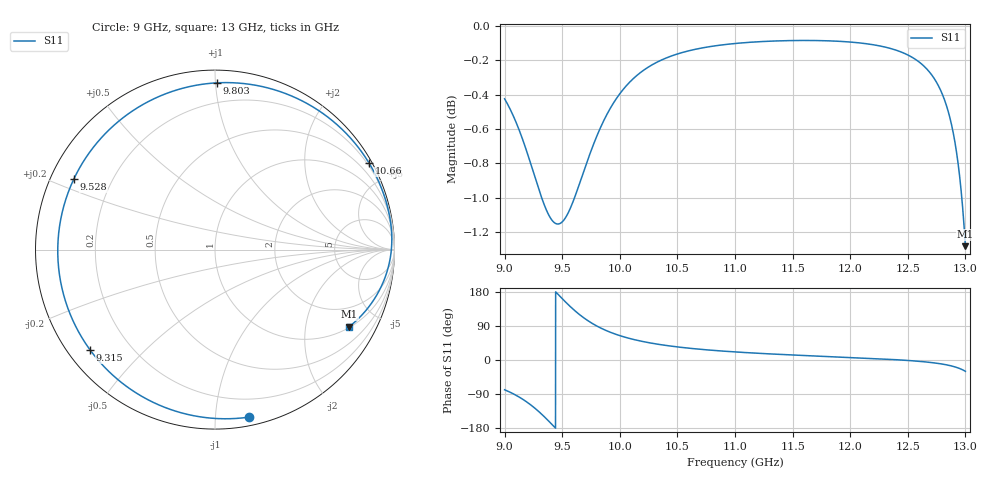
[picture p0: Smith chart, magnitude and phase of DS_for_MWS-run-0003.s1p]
! TOUCHSTONE file generated by CST DESIGN STUDIO
! Date and time: Tue Feb  4 17:05:14 2025
! Project name: C:\Work\MatlabApps\UnitCellOptimizationMatlab\CST\unitcell.cst
! Tree item: Tasks\Sweep1\SPara1\S-Parameters
! Header version: 2024
! Port assignment regex: !\s*Touchstone port\s*([0-9]+)\s*=\s*(CST MWS port|CST DES external port|CST DES block port)\s*(.+)\s* \(\"(.*)\"\)(\s*mode\s*([0-9]+))?.*
! Touchstone port assignment:
! Touchstone port 1 = CST DES external port 1 ("")
# GHz S MA R 50
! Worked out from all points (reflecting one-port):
!   4001 points, 9 GHz to 13 GHz, reference 50 ohm
!   lowest |S11| = -1.3 dB at 13 GHz (marker M1), VSWR 13.58, Z = 51.7 - j174 ohm
!   phase of S11 starts at -79 deg and turns -311 deg over the sweep
!   S11 on the Smith chart (normalised r, x): 9 GHz: 0.06, -1.22; 9.315 GHz: 0.06, -0.35; 9.528 GHz: 0.07, +0.24; 9.803 GHz: 0.07, +1.01; 10.66 GHz: 0.12, +3.83; 13 GHz: 1.03, -3.47
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9  0.9523 -78.6
9.098  0.9377 -92.9
9.177  0.9226 -107.5
9.247  0.9073 -123.3
9.315  0.8926 -141.2
9.365  0.8836 -155.8
9.411  0.878 -170.0
9.455  0.8758 176.1
9.5  0.877 161.9
9.528  0.8794 153.3
9.593  0.8888 134.6
9.657  0.9011 118.2
9.725  0.9148 103.4
9.803  0.9293 89.3
9.899  0.9439 75.5
10  0.9555 64.3
10.102  0.9642 55.5
10.216  0.9712 47.8
10.5  0.9813 34.5
10.663  0.9845 29.3
11  0.9882 21.3
11.5  0.9902 13.2
12  0.9892 6.7
12.5  0.9807 -1.2
12.691  0.9693 -6.3
12.834  0.9484 -12.7
12.924  0.9184 -19.6
13  0.8629 -29.8
